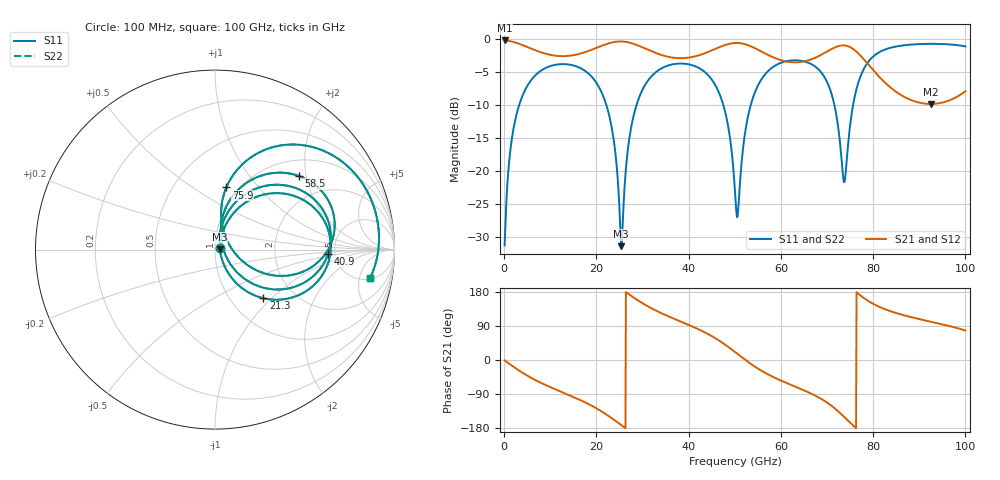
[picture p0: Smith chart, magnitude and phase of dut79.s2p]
! Touchstone file exported from HFSS 2026.1.0
!  File:  C:/ffzhzh/LocalFiles/Ansys_Project_Files/temp_train_TSV_RDL_79_1783451193_7600.aedt
!  Generated:  03:18:09 AM Jul  8, 2026
!  Design:  TSV_RDL
!  Project:  temp_train_TSV_RDL_79_1783451193_7600
! Variables:
!  h_bsmrdl = 2.2um
!  h_ox = 20um
!  h_rdl = 5um
!  h_sub = 61.12um
!  h_tmrdl = 2.1um
!  h_tsv = 61.12um
!  h_via = 3um
!  l_bsmrdl = 226.91um
!  l_sub = 2263.46um
!  l_tmrdl = 274.6um
!  m_sub = 200um
!  pitch = 52.51um
!  r_tsv = 8.62um
!  s_tmrdl = 10um
!  w_bsmrdl = 17.86um
!  w_sub = 500um
!  w_tmrdl = 10.25um
!  x_tsv_center1 = 279.725um
!  x_tsv_center2 = 524.495um
!  x_tsv_center3 = 809.345um
!  x_tsv_center4 = 1054.115um
!  x_tsv_center5 = 1338.965um
!  x_tsv_center6 = 1583.735um
# GHz S MA R 50.000000
! Terminal data exported
! Port[1] = TM_RDL1_1_T1
! Port[2] = TM_RDL5_1_T1
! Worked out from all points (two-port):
!   1000 points, 100 MHz to 100 GHz, reference 50 ohm
!   highest |S21| = -0.22 dB at 100 MHz (marker M1); lowest = -9.8 dB at 92.5 GHz (marker M2)
!   |S21| within 3 dB of the highest: start of sweep to 60.14 GHz; 65.96 GHz to 78.16 GHz (12.19 GHz wide, 16.9 % of centre)
!   lowest |S11| = -31.3 dB at 25.4 GHz (marker M3), VSWR 1.06, Z = 52.8 + j0.0743 ohm
!   |S11| at or under -10 dB: 22.16 GHz to 28.69 GHz (6.53 GHz wide, 25.7 % of centre); 47.52 GHz to 53.46 GHz (5.94 GHz wide, 11.8 % of centre); 71.61 GHz to 75.65 GHz (4.041 GHz wide, 5.49 % of centre)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
!   |S22| runs from -31.3 to -0.7 dB; largest |S21 - S12| = 1.3e-13
!   S11 on the Smith chart (normalised r, x): 100 MHz: 1.05, +0.02; 21.3 GHz: 1.41, -0.89; 40.9 GHz: 4.40, -0.33; 58.5 GHz: 1.35, +1.81; 75.9 GHz: 0.88, +0.69; 100 GHz: 5.28, -7.30
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0.1  0.02753 22.8  0.9747 -0.9  0.9747 -0.9  0.02753 22.8
! Gamma 0 0 0 0
! Port Impedance 50 0 50 0
1.7  0.1786 65.6  0.9555 -15.2  0.9555 -15.2  0.1786 65.6
4.4  0.4019 49.2  0.8876 -36.8  0.8876 -36.8  0.4019 49.2
10.7  0.6337 13.1  0.7511 -75.3  0.7511 -75.3  0.6337 13.1
16.8  0.5959 -17.7  0.78 -107.3  0.78 -107.3  0.5959 -17.6
21.3  0.3826 -45.1  0.8925 -137.0  0.8925 -137.0  0.3826 -45.1
23.7  0.1781 -59.7  0.9461 -156.7  0.9461 -156.7  0.1781 -59.6
25.4  0.02714 1.5  0.9575 -171.8  0.9575 -171.8  0.02732 1.5
28.1  0.2659 68.0  0.9182 164.6  0.9182 164.6  0.266 68.0
33.4  0.5787 35.2  0.7714 127.5  0.7714 127.5  0.5787 35.2
40.9  0.6314 -2.1  0.7325 87.8  0.7325 87.8  0.6315 -2.0
47.2  0.3435 -38.2  0.8824 46.5  0.8824 46.5  0.3436 -38.1
50.1  0.06611 -27.9  0.9326 20.7  0.9326 20.7  0.06669 -27.4
53.7  0.3381 70.2  0.8736 -12.1  0.8736 -12.1  0.3382 70.1
58.5  0.6212 41.4  0.723 -45.9  0.723 -45.9  0.6212 41.4
66.7  0.6428 2.1  0.704 -89.4  0.704 -89.4  0.6429 2.2
71  0.3826 -22.5  0.8402 -121.1  0.8402 -121.1  0.3828 -22.4
73.7  0.08256 24.3  0.8944 -150.0  0.8944 -150.0  0.08345 24.3
75.9  0.3522 79.7  0.8282 -175.6  0.8282 -175.6  0.3523 79.6
83.4  0.8509 36.7  0.4406 130.3  0.4406 130.3  0.8509 36.7
92.5  0.9192 10.4  0.3228 101.1  0.3228 101.1  0.9192 10.4
100  0.8787 -10.3  0.4024 77.9  0.4024 77.9  0.8787 -10.3
